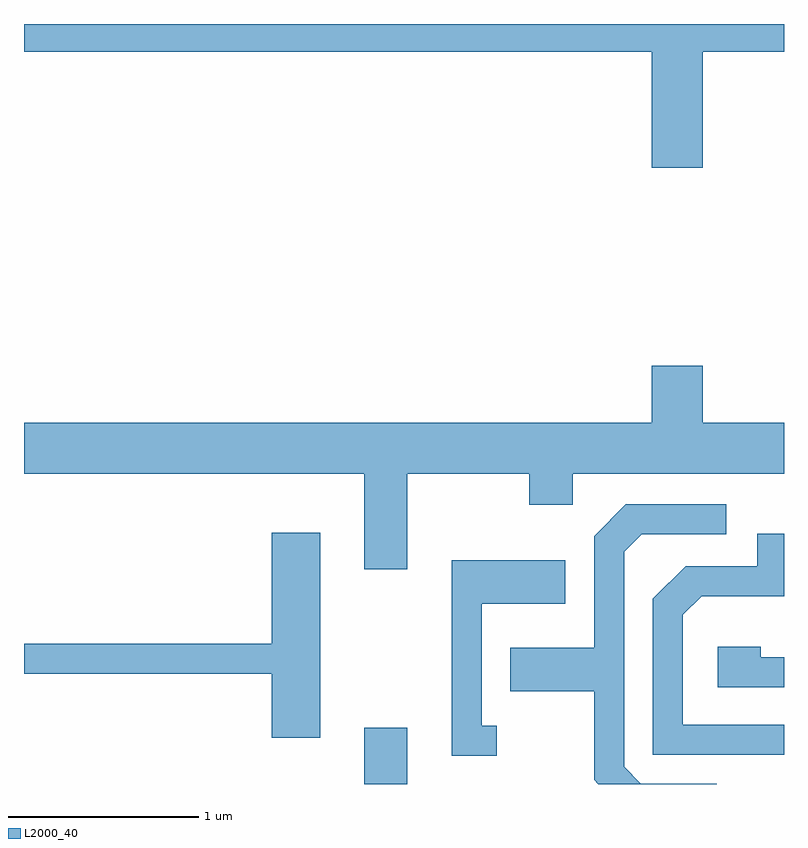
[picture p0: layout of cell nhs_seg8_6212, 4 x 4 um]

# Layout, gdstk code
import gdstk
lib = gdstk.Library(unit=1e-6, precision=1e-09)
def R(c, l, rs):  # rectangles x0, y0, x1, y1
    for r in rs: c.add(gdstk.rectangle(r[:2], r[2:], *l))
def P(c, l, *ps):  # polygons
    for p in ps: c.add(gdstk.Polygon(p, *l))
L2000_40 = (2000, 40)

nhs_seg8_6212 = lib.new_cell('nhs_seg8_6212')
R(nhs_seg8_6212, L2000_40, [(373.401,1830.342,373.629,1830.639)])
P(nhs_seg8_6212, L2000_40, [(375.184,1834.196),(375.611,1834.196),(375.611,1834.342),(371.611,1834.342),(371.611,1834.196),(374.916,1834.196),(374.916,1833.586),(375.184,1833.586)],
  [(373.629,1831.976),(374.271,1831.976),(374.271,1831.811),(374.499,1831.811),(374.499,1831.976),(375.611,1831.976),(375.611,1832.244),(375.184,1832.244),(375.184,1832.544),(374.916,1832.544),(374.916,1832.244),(371.611,1832.244),(371.611,1831.976),(373.401,1831.976),(373.401,1831.471),(373.629,1831.471)],
  [(375.258,1830.344),(374.857,1830.344),(374.769,1830.432),(374.769,1831.564),(374.862,1831.656),(375.308,1831.656),(375.308,1831.814),(374.779,1831.814),(374.611,1831.647),(374.611,1831.059),(374.171,1831.059),(374.171,1830.831),(374.611,1830.831),(374.611,1830.364),(374.633,1830.342),(375.258,1830.342)],
  [(373.169,1831.664),(372.916,1831.664),(372.916,1831.079),(371.611,1831.079),(371.611,1830.921),(372.916,1830.921),(372.916,1830.586),(373.169,1830.586)],
  [(375.611,1830.654),(375.079,1830.654),(375.079,1831.234),(375.177,1831.331),(375.611,1831.331),(375.611,1831.659),(375.471,1831.659),(375.471,1831.489),(375.094,1831.489),(374.921,1831.317),(374.921,1830.496),(375.611,1830.496)],
  [(374.098,1830.649),(374.019,1830.649),(374.019,1831.291),(374.459,1831.291),(374.459,1831.519),(373.861,1831.519),(373.861,1830.491),(374.098,1830.491)],
  [(375.611,1831.009),(375.489,1831.009),(375.489,1831.064),(375.261,1831.064),(375.261,1830.851),(375.611,1830.851)])

lib.write_gds('nhs_seg8_6212.gds')
